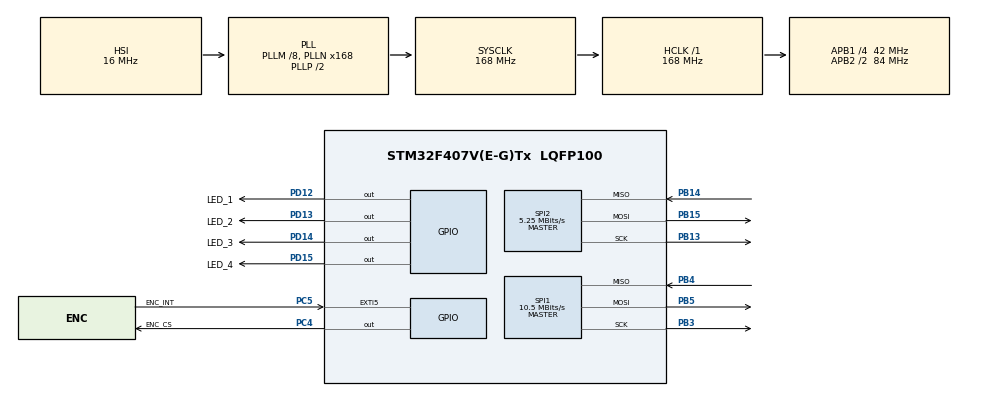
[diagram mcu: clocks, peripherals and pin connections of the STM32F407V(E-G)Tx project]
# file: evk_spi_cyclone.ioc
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FREERTOS.Tasks01=defaultTask,0,512,StartDefaultTask,Default,NULL,Dynamic,NULL,NULL
FREERTOS.configMINIMAL_STACK_SIZE=128
FREERTOS.configTOTAL_HEAP_SIZE=32000
FREERTOS.configUSE_COUNTING_SEMAPHORES=1
Mcu.Family=STM32F4
Mcu.Name=STM32F407V(E-G)Tx
Mcu.Package=LQFP100
NVIC.EXTI9_5_IRQn=true\:5\:0\:false\:false\:true\:true\:true\:true\:true
NVIC.PriorityGroup=NVIC_PRIORITYGROUP_4
NVIC.TIM1_UP_TIM10_IRQn=true\:15\:0\:false\:false\:true\:false\:false\:true\:true
NVIC.TimeBase=TIM1_UP_TIM10_IRQn
NVIC.TimeBaseIP=TIM1
PB13.Mode=Full_Duplex_Master
PB13.Signal=SPI2_SCK
PB14.Mode=Full_Duplex_Master
PB14.Signal=SPI2_MISO
PB15.Mode=Full_Duplex_Master
PB15.Signal=SPI2_MOSI
PB3.Mode=Full_Duplex_Master
PB3.Signal=SPI1_SCK
PB4.Mode=Full_Duplex_Master
PB4.Signal=SPI1_MISO
PB5.Mode=Full_Duplex_Master
PB5.Signal=SPI1_MOSI
PC4.GPIO_Label=ENC_CS
PC4.PinState=GPIO_PIN_SET
PC4.Signal=GPIO_Output
PC5.GPIO_Label=ENC_INT
PC5.GPIO_ModeDefaultEXTI=GPIO_MODE_IT_FALLING
PC5.GPIO_PuPd=GPIO_PULLUP
PC5.Signal=GPXTI5
PD12.GPIO_Label=LED_1
PD12.Signal=GPIO_Output
PD13.GPIO_Label=LED_2
PD13.Signal=GPIO_Output
PD14.GPIO_Label=LED_3
PD14.Signal=GPIO_Output
PD15.GPIO_Label=LED_4
PD15.Signal=GPIO_Output
PH0-OSC_IN.Mode=HSE-External-Oscillator
PH0-OSC_IN.Signal=RCC_OSC_IN
PH1-OSC_OUT.Mode=HSE-External-Oscillator
PH1-OSC_OUT.Signal=RCC_OSC_OUT
ProjectManager.HeapSize=0x200
ProjectManager.StackSize=0x400
ProjectManager.TargetToolchain=STM32CubeIDE
RCC.48MHZClocksFreq_Value=48000000
RCC.AHBFreq_Value=168000000
RCC.APB1CLKDivider=RCC_HCLK_DIV4
RCC.APB1Freq_Value=42000000
RCC.APB1TimFreq_Value=84000000
RCC.APB2CLKDivider=RCC_HCLK_DIV2
RCC.APB2Freq_Value=84000000
RCC.APB2TimFreq_Value=168000000
RCC.CortexFreq_Value=168000000
RCC.HCLKFreq_Value=168000000
RCC.HSE_VALUE=8000000
RCC.HSI_VALUE=16000000
RCC.LSE_VALUE=32768
RCC.PLLM=8
RCC.PLLN=168
RCC.PLLQ=7
RCC.SYSCLKFreq_VALUE=168000000
RCC.SYSCLKSource=RCC_SYSCLKSOURCE_PLLCLK
RCC.VCOOutputFreq_Value=336000000
SPI1.BaudRatePrescaler=SPI_BAUDRATEPRESCALER_8
SPI1.CalculateBaudRate=10.5 MBits/s
SPI1.Direction=SPI_DIRECTION_2LINES
SPI1.Mode=SPI_MODE_MASTER
SPI1.VirtualType=VM_MASTER
SPI2.BaudRatePrescaler=SPI_BAUDRATEPRESCALER_8
SPI2.CalculateBaudRate=5.25 MBits/s
SPI2.Direction=SPI_DIRECTION_2LINES
SPI2.Mode=SPI_MODE_MASTER
SPI2.VirtualType=VM_MASTER
VP_FREERTOS_VS_CMSIS_V1.Mode=CMSIS_V1
VP_SYS_VS_tim1.Mode=TIM1
board=STM32F407G-DISC1

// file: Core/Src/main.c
/* USER CODE BEGIN Header */
/**
  ******************************************************************************
  * @file           : main.c
  * @brief          : Main program body
  ******************************************************************************
  * @attention
  *
  * <h2><center>&copy; Copyright (c) 2021 STMicroelectronics.
  * All rights reserved.</center></h2>
  *
  * This software component is licensed by ST under BSD 3-Clause license,
  * the "License"; You may not use this file except in compliance with the
  * License. You may obtain a copy of the License at:
  *                        opensource.org/licenses/BSD-3-Clause
  *
  ******************************************************************************
  */
/* USER CODE END Header */
#include "main.h"
#include "cmsis_os.h"
#include "spi.h"
#include "gpio.h"

/* USER CODE BEGIN PV */
static void Netif_Config(void);
/* USER CODE END PV */

void SystemClock_Config(void);
void MX_FREERTOS_Init(void);

int main(void)
{

  /* MCU Configuration--------------------------------------------------------*/

  /* Reset of all peripherals, Initializes the Flash interface and the Systick. */
  HAL_Init();

  /* Configure the system clock */
  SystemClock_Config();

  /* Initialize all configured peripherals */
  MX_GPIO_Init();
  MX_SPI1_Init();
  MX_SPI2_Init();
  /* USER CODE BEGIN 2 */
  /* Configure the Network interface */

   /* tcp echo server Init */

   /* Notify user about the network interface config */
  /* USER CODE END 2 */

  /* Call init function for freertos objects (in freertos.c) */
  MX_FREERTOS_Init();
  /* Start scheduler */
  osKernelStart();

  /* We should never get here as control is now taken by the scheduler */
  /* Infinite loop */
  /* USER CODE BEGIN WHILE */

  HAL_GPIO_TogglePin(LED_3_GPIO_Port, LED_3_Pin);
  HAL_GPIO_TogglePin(LED_1_GPIO_Port, LED_1_Pin); HAL_Delay(500);
  HAL_GPIO_TogglePin(LED_3_GPIO_Port, LED_3_Pin);
  HAL_GPIO_TogglePin(LED_1_GPIO_Port, LED_1_Pin); HAL_Delay(500);

  while (1)
  {
    /* USER CODE END WHILE */

  }
}

void SystemClock_Config(void)
{
  RCC_OscInitTypeDef RCC_OscInitStruct = {0};
  RCC_ClkInitTypeDef RCC_ClkInitStruct = {0};

  /** Configure the main internal regulator output voltage
  */
  __HAL_RCC_PWR_CLK_ENABLE();
  __HAL_PWR_VOLTAGESCALING_CONFIG(PWR_REGULATOR_VOLTAGE_SCALE1);
  /** Initializes the RCC Oscillators according to the specified parameters
  * in the RCC_OscInitTypeDef structure.
  */
  RCC_OscInitStruct.OscillatorType = RCC_OSCILLATORTYPE_HSI;
  RCC_OscInitStruct.HSIState = RCC_HSI_ON;
  RCC_OscInitStruct.HSICalibrationValue = RCC_HSICALIBRATION_DEFAULT;
  RCC_OscInitStruct.PLL.PLLState = RCC_PLL_ON;
  RCC_OscInitStruct.PLL.PLLSource = RCC_PLLSOURCE_HSI;
  RCC_OscInitStruct.PLL.PLLM = 8;
  RCC_OscInitStruct.PLL.PLLN = 168;
  RCC_OscInitStruct.PLL.PLLP = RCC_PLLP_DIV2;
  RCC_OscInitStruct.PLL.PLLQ = 7;
  if (HAL_RCC_OscConfig(&RCC_OscInitStruct) != HAL_OK)
  {
    Error_Handler();
  }
  /** Initializes the CPU, AHB and APB buses clocks
  */
  RCC_ClkInitStruct.ClockType = RCC_CLOCKTYPE_HCLK|RCC_CLOCKTYPE_SYSCLK
                              |RCC_CLOCKTYPE_PCLK1|RCC_CLOCKTYPE_PCLK2;
  RCC_ClkInitStruct.SYSCLKSource = RCC_SYSCLKSOURCE_PLLCLK;
  RCC_ClkInitStruct.AHBCLKDivider = RCC_SYSCLK_DIV1;
  RCC_ClkInitStruct.APB1CLKDivider = RCC_HCLK_DIV4;
  RCC_ClkInitStruct.APB2CLKDivider = RCC_HCLK_DIV2;

  if (HAL_RCC_ClockConfig(&RCC_ClkInitStruct, FLASH_LATENCY_5) != HAL_OK)
  {
    Error_Handler();
  }
}

/* USER CODE BEGIN 4 */

/**
  * @brief  EXTI line detection callbacks
  * @param  GPIO_Pin: Specifies the pins connected EXTI line
  * @retval None
  */
//void HAL_GPIO_EXTI_Callback(uint16_t GPIO_Pin)
//{
////  /* Get the IT status register value */
////  if(BSP_IO_ITGetStatus(MII_INT_PIN))
//  //BSP_IO_ITClear();
//}

/* USER CODE END 4 */

void HAL_TIM_PeriodElapsedCallback(TIM_HandleTypeDef *htim)
{
  if (htim->Instance == TIM1) {
    HAL_IncTick();
  }
}

void Error_Handler(void)
{
  __disable_irq();
  while (1)
  {
  }
}

/************************ (C) COPYRIGHT STMicroelectronics *****END OF FILE****/

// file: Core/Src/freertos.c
/* USER CODE BEGIN Header */
/**
  ******************************************************************************
  * File Name          : freertos.c
  * Description        : Code for freertos applications
  ******************************************************************************
  * @attention
  *
  * <h2><center>&copy; Copyright (c) 2021 STMicroelectronics.
  * All rights reserved.</center></h2>
  *
  * This software component is licensed by ST under Ultimate Liberty license
  * SLA0044, the "License"; You may not use this file except in compliance with
  * the License. You may obtain a copy of the License at:
  *                             www.st.com/SLA0044
  *
  ******************************************************************************
  */
/* USER CODE END Header */

#include "FreeRTOS.h"
#include "task.h"
#include "main.h"
#include "cmsis_os.h"

/* USER CODE BEGIN Includes */
#include "core/net.h"
#include "drivers/eth/enc28j60_driver.h"
#include "dhcp/dhcp_client.h"
#include "http/http_client.h"
#include "debug.h"
#include "spi_driver.h"
#include "ext_int_driver.h"
#include "core/bsd_socket.h"
#include "../../../CycloneTcp/cyclone_tcp/core/socket.h"

#include <stdio.h>
/* USER CODE END Includes */

/* USER CODE BEGIN PD */
//Ethernet interface configuration
#define APP_IF_NAME "eth0"
#define APP_HOST_NAME "https-client-demo"
#define APP_MAC_ADDR "02:AA:35:66:40:44"

#define APP_USE_DHCP_CLIENT ENABLED
#define APP_IPV4_HOST_ADDR "192.168.1.35"
#define APP_IPV4_SUBNET_MASK "255.255.255.0"
#define APP_IPV4_DEFAULT_GATEWAY "192.168.1.254"
#define APP_IPV4_PRIMARY_DNS "8.8.8.8"
#define APP_IPV4_SECONDARY_DNS "8.8.4.4"

#define APP_SET_CIPHER_SUITES   DISABLED
#define APP_SET_SERVER_NAME     ENABLED
#define APP_SET_TRUSTED_CA_LIST ENABLED
/* USER CODE END PD */

/* USER CODE BEGIN Variables */
DhcpClientSettings dhcpClientSettings;
DhcpClientContext dhcpClientContext;
HttpClientContext httpClientContext;
/* USER CODE END Variables */
osThreadId defaultTaskHandle;

/* USER CODE BEGIN FunctionPrototypes */
void secondTaskLoop(void const * argument);
void udpTaskLoop(void const * argument);
void thirdTaskLoop(void const * argument);

SemaphoreHandle_t xSemaphore = NULL;
/* USER CODE END FunctionPrototypes */

void StartDefaultTask(void const * argument);

void MX_FREERTOS_Init(void); /* (MISRA C 2004 rule 8.1) */

/* GetIdleTaskMemory prototype (linked to static allocation support) */
void vApplicationGetIdleTaskMemory( StaticTask_t **ppxIdleTaskTCBBuffer, StackType_t **ppxIdleTaskStackBuffer, uint32_t *pulIdleTaskStackSize );

/* USER CODE BEGIN GET_IDLE_TASK_MEMORY */
static StaticTask_t xIdleTaskTCBBuffer;
static StackType_t xIdleStack[configMINIMAL_STACK_SIZE];

void vApplicationGetIdleTaskMemory( StaticTask_t **ppxIdleTaskTCBBuffer, StackType_t **ppxIdleTaskStackBuffer, uint32_t *pulIdleTaskStackSize )
{
  *ppxIdleTaskTCBBuffer = &xIdleTaskTCBBuffer;
  *ppxIdleTaskStackBuffer = &xIdleStack[0];
  *pulIdleTaskStackSize = configMINIMAL_STACK_SIZE;
  /* place for user code */
}
/* USER CODE END GET_IDLE_TASK_MEMORY */

void MX_FREERTOS_Init(void) {
  /* USER CODE BEGIN Init */

    error_t error;
    NetInterface *interface;
    MacAddr macAddr;
    Ipv4Addr ipv4Addr;

       //TCP/IP stack initialization
    error = netInit();
    if(error)
    {
        HAL_GPIO_WritePin(LED_1_GPIO_Port, LED_1_Pin, TRUE);
        //Debug message
//        TRACE_ERROR("Failed to initialize TCP/IP stack!\r\n");
    }

    interface = &netInterface[0];

    //Set interface name
    netSetInterfaceName(interface, APP_IF_NAME);
    //Set host name
    netSetHostname(interface, APP_HOST_NAME);
    //Set host MAC address
    macStringToAddr(APP_MAC_ADDR, &macAddr);
    netSetMacAddr(interface, &macAddr);
    //Select the relevant network adapter

    netSetDriver(interface, &enc28j60Driver);
    netSetSpiDriver(interface, &spiDriver);
    netSetExtIntDriver(interface, &extIntDriver);

    //Initialize network interface
    error = netConfigInterface(interface);
    //Any error to report?
    if(error)
    {
       //Debug message
        HAL_GPIO_WritePin(LED_1_GPIO_Port, LED_1_Pin, TRUE);
//       TRACE_ERROR("Failed to configure interface %s!\r\n", interface->name);
    }

   //Set IPv4 host address
   ipv4StringToAddr(APP_IPV4_HOST_ADDR, &ipv4Addr);
   ipv4SetHostAddr(interface, ipv4Addr);

   //Set subnet mask
   ipv4StringToAddr(APP_IPV4_SUBNET_MASK, &ipv4Addr);
   ipv4SetSubnetMask(interface, ipv4Addr);

   //Set default gateway
   ipv4StringToAddr(APP_IPV4_DEFAULT_GATEWAY, &ipv4Addr);
   ipv4SetDefaultGateway(interface, ipv4Addr);

   //Set primary and secondary DNS servers
//   ipv4StringToAddr(APP_IPV4_PRIMARY_DNS, &ipv4Addr);
//   ipv4SetDnsServer(interface, 0, ipv4Addr);
//   ipv4StringToAddr(APP_IPV4_SECONDARY_DNS, &ipv4Addr);
//   ipv4SetDnsServer(interface, 1, ipv4Addr);

//   HAL_Delay(10000);

  /* USER CODE END Init */

  /* Create the thread(s) */
  /* definition and creation of defaultTask */
//  osThreadDef(defaultTask, StartDefaultTask, osPriorityNormal, 0, 512);
//  defaultTaskHandle = osThreadCreate(osThread(defaultTask), NULL);

  /* USER CODE BEGIN RTOS_THREADS */
  /* add threads, ... */

//  osThreadDef(secondTask, secondTaskLoop, osPriorityNormal, 0, 512);
//  defaultTaskHandle = osThreadCreate(osThread(secondTask), NULL);
//
//  osThreadDef(udpTask, udpTaskLoop, osPriorityNormal, 0, 512);
//  defaultTaskHandle = osThreadCreate(osThread(udpTask), NULL);
//
//   HAL_GPIO_WritePin(LED_1_GPIO_Port, LED_1_Pin, TRUE);
//
  osThreadDef(thirdTask, thirdTaskLoop, osPriorityNormal, 0, 512);
  defaultTaskHandle = osThreadCreate(osThread(thirdTask), NULL);

  /* USER CODE END RTOS_THREADS */

}

void StartDefaultTask(void const * argument)
{
  /* USER CODE BEGIN StartDefaultTask */
  /* Infinite loop */

    int socket_desc;
    struct sockaddr_in server_addr;
    char server_message[100] = "";
    char client_message[100] = "zafer";
    int i = 0;

    osDelayTask(500);

    socket_desc = socket(AF_INET, SOCK_STREAM, 0);

    if(socket_desc < 0){
        return ;
    }

    // Set port and IP the same as server-side:
    server_addr.sin_family = AF_INET;
    server_addr.sin_port = htons(2005);
    server_addr.sin_addr.s_addr = inet_addr("192.168.1.88");

    // Send connection request to server:
    if(connect(socket_desc, (struct sockaddr*)&server_addr, sizeof(server_addr)) < 0)
    {
        HAL_GPIO_TogglePin(LED_1_GPIO_Port, LED_1_Pin);
    }
    printf("Connected with server successfully\n");

  for(;;)
  {
      sprintf(client_message, "--> Client STM Msg %d", i++);
      if(send(socket_desc, client_message, strlen(client_message), 0) < 0)
      {
          HAL_GPIO_WritePin(LED_1_GPIO_Port, LED_1_Pin, TRUE);
      }

//      // Receive the server's response:
//      if(recv(socket_desc, server_message, sizeof(server_message), 0) < 0)
//      {
//          HAL_GPIO_WritePin(LED_1_GPIO_Port, LED_1_Pin, TRUE);
//      }

      HAL_GPIO_TogglePin(LED_4_GPIO_Port, LED_4_Pin);
      osDelayTask(500);
  }

  /* USER CODE END StartDefaultTask */
}

/* USER CODE BEGIN Application */
void udpTaskLoop(void const * argument)
{
    int socket_desc;
    struct sockaddr_in server_addr;
    char server_message[32] = "", client_message[32] = "";
    int server_struct_length = sizeof(server_addr);
    int i = 0;

    osDelayTask(500);

    // Clean buffers:
    memset(server_message, '\0', sizeof(server_message));
    memset(client_message, '\0', sizeof(client_message));

    // Create socket:
    socket_desc = socket(AF_INET, SOCK_DGRAM, IPPROTO_UDP);

    if(socket_desc < 0)
    {
        printf("Error while creating socket\n");
        HAL_GPIO_TogglePin(LED_1_GPIO_Port, LED_1_Pin);

    }

    // Set port and IP:
    server_addr.sin_family = AF_INET;
    server_addr.sin_port = htons(2001);
    server_addr.sin_addr.s_addr = inet_addr("192.168.1.88");

    while(1)
    {
        sprintf(client_message, "--> Client UDP STM Msg %d ", i++);
        // Send the message to server:
        if(sendto(socket_desc, client_message, strlen(client_message), 0, \
           (struct sockaddr*)&server_addr, server_struct_length) < 0)
        {
            HAL_GPIO_TogglePin(LED_1_GPIO_Port, LED_1_Pin);
        }

//        // Receive the server's response:
//        if(recvfrom(socket_desc, server_message, sizeof(server_message), 0,
//            (struct sockaddr*)&server_addr, &server_struct_length) < 0)
//        {
//            HAL_GPIO_TogglePin(LED_1_GPIO_Port, LED_1_Pin);
//        }

        HAL_GPIO_TogglePin(LED_4_GPIO_Port, LED_4_Pin);
        osDelayTask(500);
    }
}

/* ... Do other things. */
void secondTaskLoop(void const * argument)
{
    int socket_desc, client_sock, client_size;
    struct sockaddr_in server_addr, client_addr;
    char server_message[32] = "", client_message[32] = "1";
    int i;

    osDelayTask(600);

    socket_desc = socket(AF_INET, SOCK_STREAM, 0);

    if(socket_desc < 0)
    {
        printf("Error while creating socket\n");
    }

    // Set port and IP:
    server_addr.sin_family = AF_INET;
    server_addr.sin_port = htons(2000);
    server_addr.sin_addr.s_addr = inet_addr("192.168.1.35");

    // Bind to the set port and IP:
    if(bind(socket_desc, (struct sockaddr*)&server_addr, sizeof(server_addr))<0){
        printf("Couldn't bind to the port\n");
    }

    // Listen for clients:
    if(listen(socket_desc, 1) < 0){
        printf("Error while listening\n");
    }

    // Accept an incoming connection:
    client_size = sizeof(client_addr);
    client_sock = accept(socket_desc, (struct sockaddr*)&client_addr, &client_size);

    printf("Client connected at IP: %s and port: %i\n", inet_ntoa(client_addr.sin_addr), ntohs(client_addr.sin_port));

    while(1)
    {
        sprintf(server_message, "--> Server STM Msg %d ", i++);
        if (send(client_sock, server_message, strlen(server_message), 0) < 0)
        {
            HAL_GPIO_WritePin(LED_1_GPIO_Port, LED_1_Pin, TRUE);
        }

//        if (recv(client_sock, client_message, sizeof(client_message), 0) < 0)
//        {
//            HAL_GPIO_WritePin(LED_4_GPIO_Port, LED_4_Pin, TRUE);
//        }

        HAL_GPIO_TogglePin(LED_2_GPIO_Port, LED_2_Pin);

        osDelayTask(500);
    }

    // Closing the socket:
    close(client_sock);
    close(socket_desc);
}

#include "core/ping.h"
void thirdTaskLoop(void const * argument)
{
    error_t err = ERROR_FAILURE;
    IpAddr ip;

    osDelayTask(500);

    ip.length = sizeof(Ipv4Addr);
    ip.ipv4Addr  = IPV4_ADDR(192,168, 0, 88);

    while(1)
    {
        err = ping(&netInterface[0], &ip, 32, 0xFF, 200, NULL);

        HAL_GPIO_TogglePin(LED_3_GPIO_Port, LED_3_Pin);
        osDelay(100);
    }
}

/* USER CODE END Application */

/************************ (C) COPYRIGHT STMicroelectronics *****END OF FILE****/
